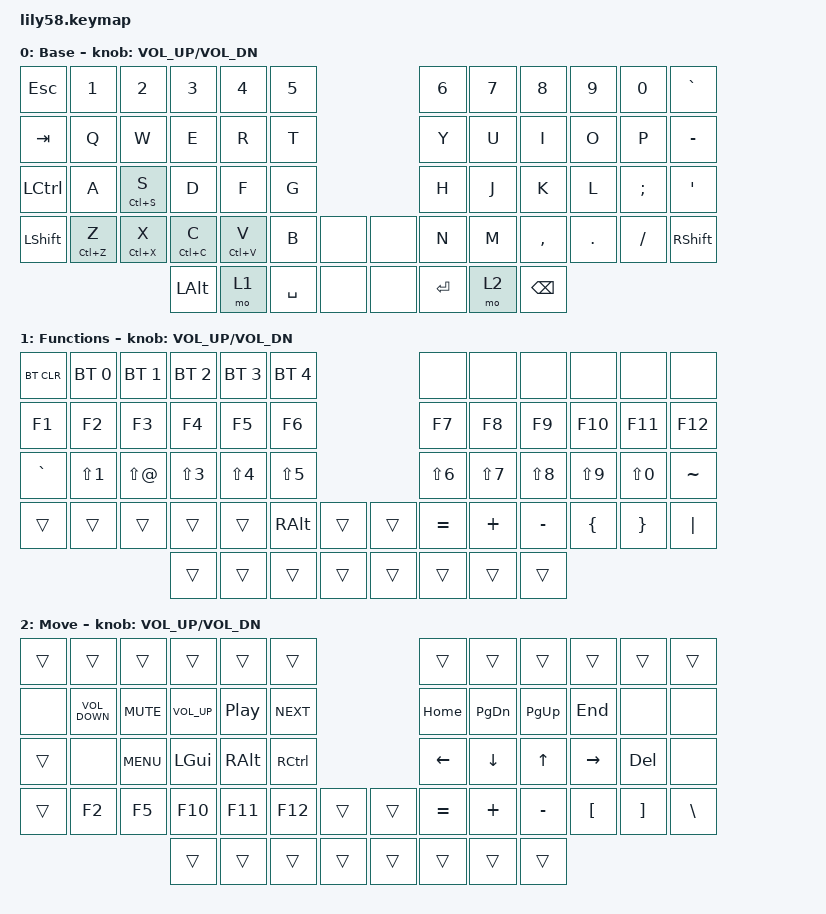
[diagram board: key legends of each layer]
/*
 * Copyright (c) 2020 The ZMK Contributors
 *
 * SPDX-License-Identifier: MIT
 */

#include <behaviors.dtsi>
#include <dt-bindings/zmk/bt.h>
#include <dt-bindings/zmk/keys.h>

/ {
    behaviors {
        comp_ctrl: comp_ctrl {
            compatible = "zmk,behavior-tap-dance";
            label = "COMP_CTRL";
            #binding-cells = <0>;
            bindings = <&kp RIGHT_SHIFT>, <&kp RIGHT_CONTROL>;
        };

        caplock: caplock {
            compatible = "zmk,behavior-tap-dance";
            label = "CAPLOCK";
            #binding-cells = <0>;
            bindings = <&kp LEFT_SHIFT>, <&kp CAPSLOCK>;
        };

        longPress: longPress {
            compatible = "zmk,behavior-hold-tap";
            label = "LONGPRESS";
            #binding-cells = <2>;
            bindings = <&kp>, <&kp>;

            tapping-term-ms = <350>;
            flavor = "tap-preferred";
        };
    };

    keymap {
        compatible = "zmk,keymap";

        default_layer {
            // ------------------------------------------------------------------------------------------------------------
            // |  ESC  |  1  |  2  |  3   |  4   |  5   |                   |  6   |  7    |  8    |  9   |   0   |   `   |
            // |  TAB  |  Q  |  W  |  E   |  R   |  T   |                   |  Y   |  U    |  I    |  O   |   P   |   -   |
            // |  CTRL |  A  |  S  |  D   |  F   |  G   |                   |  H   |  J    |  K    |  L   |   ;   |   '   |
            // | SHIFT |  Z  |  X  |  C   |  V   |  B   |        |  |       |  N   |  M    |  ,    |  .   |   /   | SHIFT |
            //                     | ALT  | LOWER|SPACE |        |  |       |ENTER | RAISE | BSPC  | 

            display-name = "Base";
            bindings = <
&kp ESC    &kp N1              &kp N2              &kp N3              &kp N4              &kp N5                     &kp N6      &kp N7  &kp N8         &kp N9   &kp N0    &kp GRAVE
&kp TAB    &kp Q               &kp W               &kp E               &kp R               &kp T                      &kp Y       &kp U   &kp I          &kp O    &kp P     &kp MINUS
&kp LCTRL  &kp A               &longPress LC(S) S  &kp D               &kp F               &kp G                      &kp H       &kp J   &kp K          &kp L    &kp SEMI  &kp SQT
&kp LSHFT  &longPress LC(Z) Z  &longPress LC(X) X  &longPress LC(C) C  &longPress LC(V) V  &kp B      &none    &none  &kp N       &kp M   &kp COMMA      &kp DOT  &kp FSLH  &kp RSHFT
                                                   &kp LALT            &mo 1               &kp SPACE  &none    &none  &kp RETURN  &mo 2   &kp BACKSPACE
            >;

            sensor-bindings = <&inc_dec_kp C_VOL_UP C_VOL_DN>;
        };

        lower_layer {
            // ------------------------------------------------------------------------------------------------------------
            // | BTCLR | BT1 | BT2 |  BT3 |  BT4 |  BT5 |                   |      |       |       |      |       |       |
            // |  F1   |  F2 |  F3 |  F4  |  F5  |  F6  |                   |  F7  |  F8   |  F9   |  F10 |  F11  |  F12  |
            // |   `   |  !  |  @  |  #   |  $   |  %   |                   |  ^   |  &    |  *    |  (   |   )   |   ~   |
            // |       |     |     |      |      |      |        |  |       |      |  _    |  +    |  {   |   }   |  "|"  |
            //                     |      |      |      |        |  |       |      |       |       |

            display-name = "Functions";
            bindings = <
&bt BT_CLR  &bt BT_SEL 0      &bt BT_SEL 1     &bt BT_SEL 2      &bt BT_SEL 3      &bt BT_SEL 4                     &none             &none       &none       &none       &none       &none
&kp F1      &kp F2            &kp F3           &kp F4            &kp F5            &kp F6                           &kp F7            &kp F8      &kp F9      &kp F10     &kp F11     &kp F12
&kp GRAVE   &kp LS(NUMBER_1)  &kp LS(AT_SIGN)  &kp LS(NUMBER_3)  &kp LS(NUMBER_4)  &kp LS(N5)                       &kp LS(NUMBER_6)  &kp LS(N7)  &kp LS(N8)  &kp LS(N9)  &kp LS(N0)  &kp TILDE
&trans      &trans            &trans           &trans            &trans            &kp RIGHT_ALT  &trans    &trans  &kp EQUAL         &kp PLUS    &kp MINUS   &kp LBRC    &kp RBRC    &kp PIPE
                                               &trans            &trans            &trans         &trans    &trans  &trans            &trans      &trans
            >;

            sensor-bindings = <&inc_dec_kp C_VOL_UP C_VOL_DN>;
        };

        raise_layer {
            // ------------------------------------------------------------------------------------------------------------
            // |       |     |     |      |      |      |                   |      |       |       |      |       |       |
            // |   `   |  1  |  2  |  3   |  4   |  5   |                   |  6   |   7   |   8   |  9   |   0   |       |
            // |   F1  |  F2 |  F3 |  F4  |  F5  |  F6  |                   |      |   <-  |   v   |  ^   |  ->   |       |
            // |   F7  |  F8 |  F9 |  F10 |  F11 |  F12 |        |  |       |  +   |   -   |   =   |  [   |   ]   |   \   |
            //                     |      |      |      |        |  |       |      |       |       |

            display-name = "Move";
            bindings = <
&trans  &trans             &trans      &trans           &trans            &trans                               &trans     &trans         &trans       &trans     &trans    &trans
&none   &kp C_VOLUME_DOWN  &kp K_MUTE  &kp C_VOLUME_UP  &kp C_PLAY_PAUSE  &kp K_NEXT                           &kp HOME   &kp PAGE_DOWN  &kp PAGE_UP  &kp END    &none     &none
&trans  &none              &kp C_MENU  &kp LEFT_GUI     &kp RIGHT_ALT     &kp RIGHT_CONTROL                    &kp LEFT   &kp DOWN       &kp UP       &kp RIGHT  &kp DEL   &none
&trans  &kp F2             &kp F5      &kp F10          &kp F11           &kp F12            &trans    &trans  &kp EQUAL  &kp PLUS       &kp MINUS    &kp LBKT   &kp RBKT  &kp BSLH
                                       &trans           &trans            &trans             &trans    &trans  &trans     &trans         &trans
            >;

            sensor-bindings = <&inc_dec_kp C_VOL_UP C_VOL_DN>;
        };

        extra_1 { status = "reserved"; };

        extra_2 { status = "reserved"; };

        extra_3 { status = "reserved"; };
    };
};
